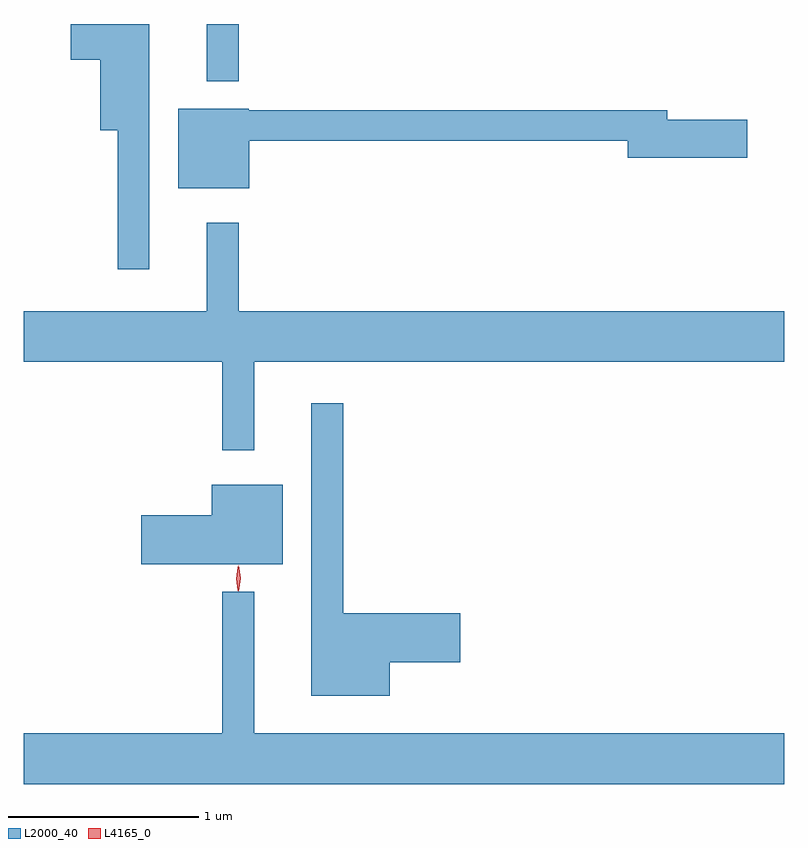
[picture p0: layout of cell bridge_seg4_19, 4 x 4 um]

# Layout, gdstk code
import gdstk
lib = gdstk.Library(unit=1e-6, precision=1e-09)
def R(c, l, rs):  # rectangles x0, y0, x1, y1
    for r in rs: c.add(gdstk.rectangle(r[:2], r[2:], *l))
def P(c, l, *ps):  # polygons
    for p in ps: c.add(gdstk.Polygon(p, *l))
L2000_40 = (2000, 40)
L4165_0 = (4165, 0)

bridge_seg4_19 = lib.new_cell('bridge_seg4_19')
R(bridge_seg4_19, L2000_40, [(1241.651,1349.493,1241.819,1349.794)])
P(bridge_seg4_19, L2000_40, [(1241.349,1349.794),(1240.936,1349.794),(1240.936,1349.606),(1241.091,1349.606),(1241.091,1349.236),(1241.181,1349.236),(1241.181,1348.503),(1241.349,1348.503)],
  [(1241.874,1349.181),(1243.866,1349.181),(1243.866,1349.091),(1244.494,1349.091),(1244.494,1349.289),(1244.074,1349.289),(1244.074,1349.339),(1241.87,1349.339),(1241.87,1349.349),(1241.501,1349.349),(1241.501,1348.931),(1241.874,1348.931)],
  [(1241.899,1348.016),(1244.688,1348.016),(1244.688,1348.284),(1241.819,1348.284),(1241.819,1348.748),(1241.651,1348.748),(1241.651,1348.284),(1240.688,1348.284),(1240.688,1348.016),(1241.731,1348.016),(1241.731,1347.553),(1241.899,1347.553)],
  [(1242.614,1346.436),(1242.984,1346.436),(1242.984,1346.694),(1242.369,1346.694),(1242.369,1347.798),(1242.201,1347.798),(1242.201,1346.261),(1242.614,1346.261)],
  [(1242.049,1347.369),(1241.676,1347.369),(1241.676,1347.209),(1241.306,1347.209),(1241.306,1346.951),(1242.049,1346.951)],
  [(1244.688,1346.064),(1241.899,1346.064),(1241.899,1346.808),(1241.731,1346.808),(1241.731,1346.064),(1240.688,1346.064),(1240.688,1345.796),(1244.688,1345.796)])
P(bridge_seg4_19, L4165_0, [(1241.818,1346.81),(1241.818,1346.81),(1241.809,1346.878),(1241.819,1346.946),(1241.82,1346.946),(1241.82,1346.946),(1241.829,1346.878),(1241.818,1346.81)],
  [(1241.814,1346.813),(1241.805,1346.876),(1241.814,1346.939),(1241.815,1346.94),(1241.815,1346.939),(1241.825,1346.876),(1241.815,1346.813),(1241.815,1346.813)])

lib.write_gds('bridge_seg4_19.gds')
